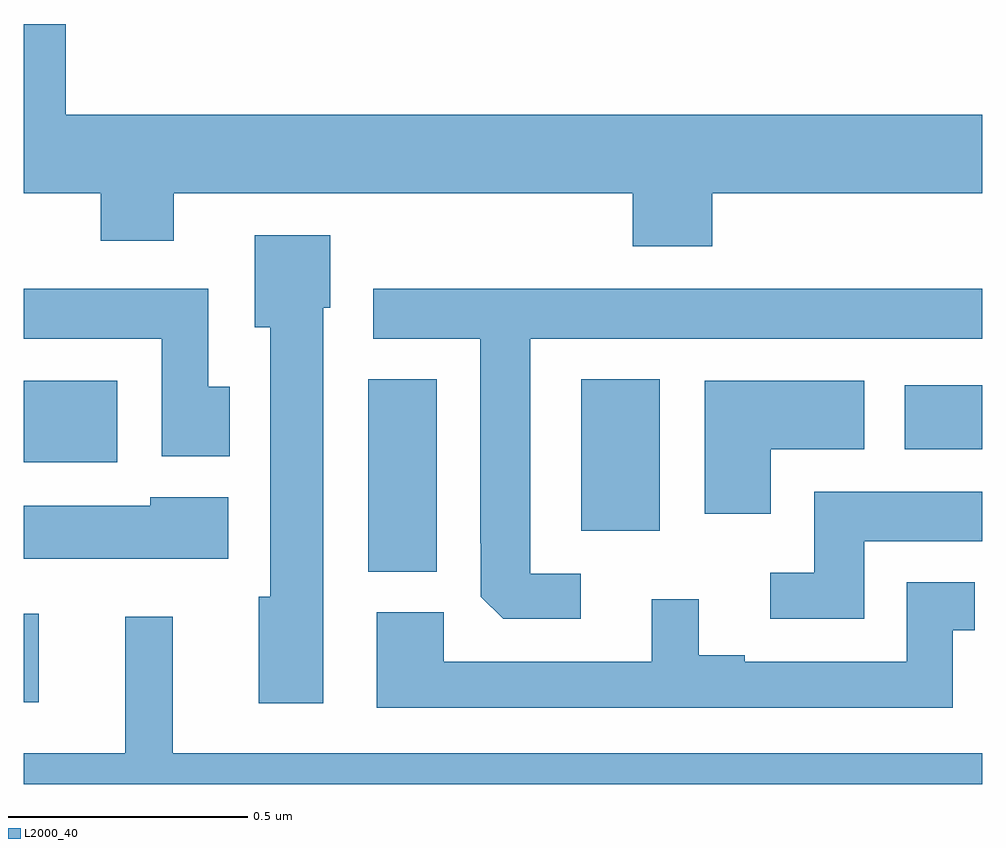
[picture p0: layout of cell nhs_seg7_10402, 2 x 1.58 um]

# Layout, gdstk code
import gdstk
lib = gdstk.Library(unit=1e-6, precision=1e-09)
def R(c, l, rs):  # rectangles x0, y0, x1, y1
    for r in rs: c.add(gdstk.rectangle(r[:2], r[2:], *l))
def P(c, l, *ps):  # polygons
    for p in ps: c.add(gdstk.Polygon(p, *l))
L2000_40 = (2000, 40)

nhs_seg7_10402 = lib.new_cell('nhs_seg7_10402')
R(nhs_seg7_10402, L2000_40, [(249,1050.171,249.032,1050.355), (249.719,1050.443,249.862,1050.844), (250.163,1050.528,250.327,1050.844), (249,1050.671,249.196,1050.841), (250.838,1050.698,251,1050.832)])
P(nhs_seg7_10402, L2000_40, [(250.436,1051.232),(251,1051.232),(251,1051.396),(249.088,1051.396),(249.088,1051.585),(249,1051.585),(249,1051.232),(249.161,1051.232),(249.161,1051.133),(249.313,1051.133),(249.313,1051.232),(250.271,1051.232),(250.271,1051.121),(250.436,1051.121)],
  [(249.625,1050.993),(249.64,1050.993),(249.64,1051.144),(249.482,1051.144),(249.482,1050.953),(249.515,1050.953),(249.515,1050.39),(249.491,1050.39),(249.491,1050.168),(249.625,1050.168)],
  [(249.43,1050.828),(249.385,1050.828),(249.385,1051.033),(249,1051.033),(249,1050.929),(249.288,1050.929),(249.288,1050.684),(249.43,1050.684)],
  [(250.162,1050.438),(250.057,1050.438),(250.057,1050.929),(251,1050.929),(251,1051.033),(249.729,1051.033),(249.729,1050.929),(249.953,1050.929),(249.953,1050.502),(249.954,1050.502),(249.954,1050.391),(250,1050.345),(250.162,1050.345)],
  [(250.558,1050.698),(250.753,1050.698),(250.753,1050.841),(250.421,1050.841),(250.421,1050.564),(250.558,1050.564)],
  [(250.753,1050.506),(251,1050.506),(251,1050.61),(250.649,1050.61),(250.649,1050.441),(250.557,1050.441),(250.557,1050.345),(250.753,1050.345)],
  [(249.427,1050.598),(249.264,1050.598),(249.264,1050.58),(249,1050.58),(249,1050.47),(249.427,1050.47)],
  [(250.938,1050.321),(250.984,1050.321),(250.984,1050.421),(250.842,1050.421),(250.842,1050.255),(250.504,1050.255),(250.504,1050.268),(250.408,1050.268),(250.408,1050.385),(250.31,1050.385),(250.31,1050.255),(249.876,1050.255),(249.876,1050.358),(249.737,1050.358),(249.737,1050.159),(250.938,1050.159)],
  [(251,1050.064),(249.311,1050.064),(249.311,1050.349),(249.212,1050.349),(249.212,1050.064),(249,1050.064),(249,1050),(251,1050)])

lib.write_gds('nhs_seg7_10402.gds')
